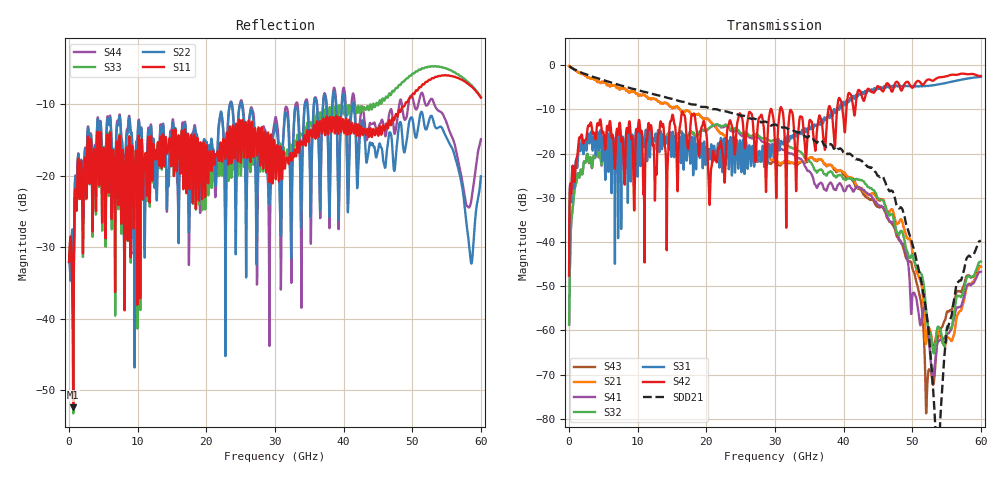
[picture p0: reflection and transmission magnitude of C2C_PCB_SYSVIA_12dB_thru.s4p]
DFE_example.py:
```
"""Example of channel coefficient calculation, zero-forcing FFE operation and Bit Error Rate Calculation"""

import serdespy as sdp
import skrf as rf
import numpy as np
import scipy as sp
import matplotlib.pyplot as plt

#define network
network = rf.Network('../touchstone/C2C_PCB_SYSVIA_12dB_thru.s4p')

#set up port definition of network
port_def = np.array([[0, 1],[2, 3]])

#get TF of differential network
H,f,h,t = sdp.four_port_to_diff(network,port_def)

#Nyquist frequency
nyquist_f = 26.56e9

#Period of clock at nyquist frequency
nyquist_T = 1/nyquist_f

#desired number of samples per clock period
oversampling_ratio = 64

#timesteps per bit
samples_per_symbol = int(round(oversampling_ratio/2))

#Desired time-step
t_d = nyquist_T/oversampling_ratio

#compute response of zero-padded TF
H, f, h, t = sdp.zero_pad(H,f,t_d)

#%% convert pulse response to channel coefficients

n_taps_post = 8
n_taps_pre = 0
n_taps = n_taps_post+n_taps_pre+1

pulse_input = np.ones(samples_per_symbol)

pulse_response = sp.signal.fftconvolve(h, pulse_input, mode = "same")
plt.savefig('DFE1.png')
channel_coefficients =  sdp.channel_coefficients(pulse_response, t, samples_per_symbol, n_taps_pre, n_taps_post) 
#%%
#print(channel_coefficients)
tap_weights = (channel_coefficients)[1:]
#%% Create RX eye diagram with and without FFE.  

#use only 2000 symbols for faster simulation to construct eye diagram
data_in = sdp.prbs20(1)
data_in= data_in[:6000]

#create ideal transmitter waveform
signal_in = sdp.nrz_input(samples_per_symbol,data_in,np.array([-1,1]))

#convolve with channel response
signal_out = sp.signal.fftconvolve(signal_in, h)[5000:300000]

#set up Reciever Class with output signal
RX = sdp.Receiver(np.copy(signal_out),samples_per_symbol,nyquist_T, np.array([-0.5,0.5]))

#create eye diagram with no FFE
sdp.simple_eye(RX.signal, samples_per_symbol*3, 1000, t_d, "53 Gbit/s RX Eye Diagram")
plt.savefig('DFE2.png')
#Apply zero-forcing FFE
RX.nrz_DFE(tap_weights)

#Create Eye diagram with FFE
sdp.simple_eye(RX.signal, samples_per_symbol*3, 1000, t_d, "53 Gbit/s RX Eye Diagram with DFE")
plt.savefig('DFE3.png')
#%%
#use only 2000 symbols for faster simulation to construct eye diagram
data_in = sdp.prqs10(1)
data_in= data_in[:6000]

#create ideal transmitter waveform
signal_in = sdp.pam4_input(samples_per_symbol,data_in,np.array([-3,-1,1,3]))

#convolve with channel response
signal_out = sp.signal.fftconvolve(signal_in, h)[5000:300000]

#set up Reciever Class with output signal
#%%
RX = sdp.Receiver(np.copy(signal_out),samples_per_symbol,nyquist_T,np.array([-3,-1,1,3]))

#create eye diagram with no FFE
sdp.simple_eye(RX.signal, samples_per_symbol*3, 1000, t_d, "106 Gbit/s RX Eye Diagram")
plt.savefig('DFE4.png')
#Apply zero-forcing FFE
RX.pam4_DFE(tap_weights)

#Create Eye diagram with FFE
sdp.simple_eye(RX.signal, samples_per_symbol*3, 1000, t_d, "106 Gbit/s RX Eye Diagram with DFE")
plt.savefig('DFE5.png')
```
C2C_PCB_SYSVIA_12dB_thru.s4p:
!$Gore$
!C2C PCB Topology at Nominal
!Tuned Ballou BGA and Tuned Mayfield BOR
!Created with Channel Assembly Tool v1.0.4
# Hz S RI R 50
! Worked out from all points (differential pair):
!   6000 points, 10 MHz to 60 GHz, reference 50 ohm
!   strongest paths, dB at 10 MHz, 15.01 GHz, 30.01 GHz, 45.01 GHz, 60 GHz:
!     S42: -47.6, -11.4, -18.8, -4.8, -2.5
!     S31: -47.6, -17.0, -17.0, -5.1, -2.7
!     S32: -58.7, -15.4, -16.9, -30.1, -44.5
!     S41: -58.7, -15.7, -18.3, -31.5, -46.7
!     S21: -0.2, -9.7, -21.3, -30.5, -45.5
!     S43: -0.2, -9.7, -21.9, -32.1, -45.6
!   taken as a pair (ports 1,3 in; 2,4 out), SDD21 dB: -0.2, -7.6, -13.4, -25.0, -39.7
!   lowest |S11| = -52.4 dB at 610 MHz (marker M1), VSWR 1.00, Z = 50.2 - j0.0673 ohm
!   |S11| at or under -10 dB: start of sweep to 48.94 GHz
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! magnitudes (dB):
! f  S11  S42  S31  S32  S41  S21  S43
! 10 MHz  -32.0  -47.6  -47.6  -58.7  -58.7  -0.2  -0.2
! 610 MHz  -52.4  -23.5  -23.8  -30.8  -30.8  -0.9  -0.9
! 60 GHz  -9.1  -2.5  -2.7  -44.5  -46.7  -45.5  -45.6
